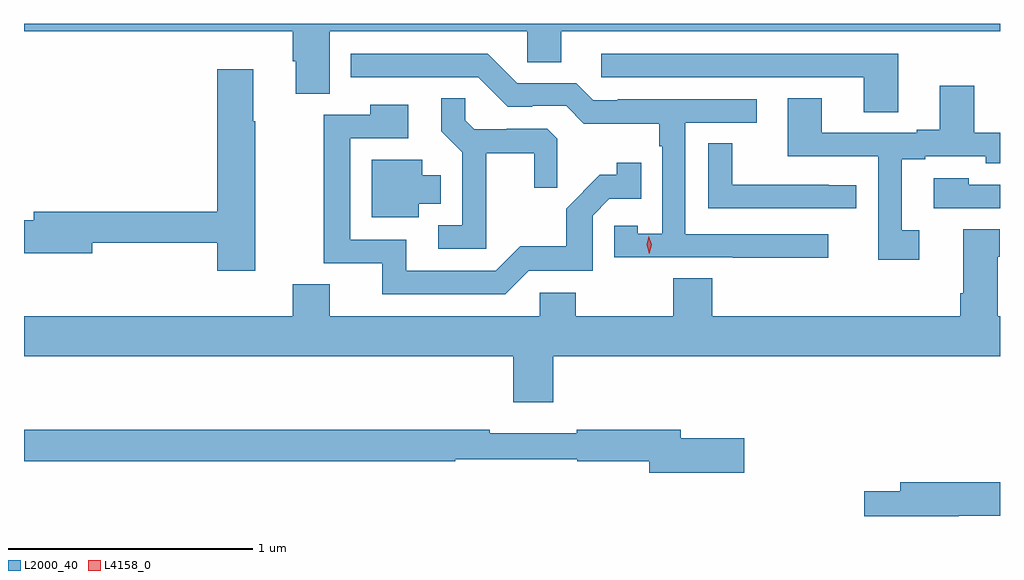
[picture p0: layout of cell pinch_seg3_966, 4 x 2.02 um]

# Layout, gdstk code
import gdstk
lib = gdstk.Library(unit=1e-6, precision=1e-09)
def P(c, l, *ps):  # polygons
    for p in ps: c.add(gdstk.Polygon(p, *l))
L2000_40 = (2000, 40)
L4158_0 = (4158, 0)

pinch_seg3_966 = lib.new_cell('pinch_seg3_966')
P(pinch_seg3_966, L2000_40, [(475.945,748.868),(476.754,748.868),(476.754,748.741),(476.893,748.741),(476.893,748.868),(478.691,748.868),(478.691,748.9),(474.691,748.9),(474.691,748.868),(475.793,748.868),(475.793,748.746),(475.805,748.746),(475.805,748.612),(475.945,748.612)],
  [(478.273,748.776),(477.057,748.776),(477.057,748.68),(478.133,748.68),(478.133,748.537),(478.273,748.537)],
  [(477.988,748.038),(477.402,748.038),(477.402,748.494),(477.694,748.494),(477.694,748.59),(477.124,748.59),(477.124,748.587),(477.024,748.587),(476.955,748.656),(476.712,748.656),(476.592,748.776),(476.03,748.776),(476.03,748.68),(476.553,748.68),(476.673,748.56),(476.774,748.56),(476.774,748.563),(476.913,748.563),(476.986,748.49),(477.294,748.49),(477.294,748.397),(477.306,748.397),(477.306,748.039),(477.207,748.039),(477.207,748.071),(477.111,748.071),(477.111,747.942),(477.595,747.942),(477.595,747.94),(477.988,747.94)],
  [(475.638,748.501),(475.63,748.501),(475.63,748.714),(475.484,748.714),(475.484,748.13),(474.731,748.13),(474.731,748.094),(474.691,748.094),(474.691,747.959),(474.97,747.959),(474.97,748.002),(475.484,748.002),(475.484,747.888),(475.638,747.888)],
  [(478.36,748.053),(478.288,748.053),(478.288,748.344),(478.384,748.344),(478.384,748.356),(478.632,748.356),(478.632,748.329),(478.691,748.329),(478.691,748.452),(478.585,748.452),(478.585,748.645),(478.445,748.645),(478.445,748.465),(478.349,748.465),(478.349,748.452),(477.961,748.452),(477.961,748.595),(477.821,748.595),(477.821,748.356),(478.191,748.356),(478.191,747.933),(478.36,747.933)],
  [(476.585,748.37),(476.782,748.37),(476.782,748.227),(476.876,748.227),(476.876,748.429),(476.835,748.47),(476.67,748.47),(476.67,748.467),(476.536,748.467),(476.499,748.504),(476.499,748.595),(476.401,748.595),(476.401,748.459),(476.487,748.373),(476.487,748.074),(476.388,748.074),(476.388,747.978),(476.585,747.978)],
  [(476.76,747.888),(477.021,747.888),(477.021,748.113),(477.09,748.182),(477.221,748.182),(477.221,748.33),(477.12,748.33),(477.12,748.28),(477.05,748.28),(476.913,748.142),(476.913,747.987),(476.724,747.987),(476.625,747.888),(476.257,747.888),(476.257,748.014),(476.028,748.014),(476.028,748.431),(476.266,748.431),(476.266,748.567),(476.11,748.567),(476.11,748.527),(475.92,748.527),(475.92,747.918),(476.159,747.918),(476.159,747.792),(476.664,747.792)],
  [(478.102,748.238),(477.989,748.238),(477.989,748.239),(477.594,748.239),(477.594,748.409),(477.495,748.409),(477.495,748.143),(478.102,748.143)],
  [(476.308,748.163),(476.398,748.163),(476.398,748.279),(476.323,748.279),(476.323,748.342),(476.117,748.342),(476.117,748.106),(476.308,748.106)],
  [(478.691,748.239),(478.563,748.239),(478.563,748.267),(478.419,748.267),(478.419,748.143),(478.691,748.143)],
  [(478.691,747.7),(478.681,747.7),(478.681,747.944),(478.689,747.944),(478.689,748.057),(478.541,748.057),(478.541,747.796),(478.529,747.796),(478.529,747.7),(477.512,747.7),(477.512,747.857),(477.352,747.857),(477.352,747.7),(476.952,747.7),(476.952,747.798),(476.805,747.798),(476.805,747.7),(475.945,747.7),(475.945,747.833),(475.793,747.833),(475.793,747.7),(474.691,747.7),(474.691,747.536),(476.696,747.536),(476.696,747.348),(476.86,747.348),(476.86,747.536),(478.691,747.536)],
  [(477.643,747.201),(477.382,747.201),(477.382,747.235),(476.956,747.235),(476.956,747.222),(476.6,747.222),(476.6,747.235),(474.691,747.235),(474.691,747.106),(476.458,747.106),(476.458,747.114),(476.958,747.114),(476.958,747.106),(477.254,747.106),(477.254,747.059),(477.643,747.059)],
  [(478.522,746.884),(478.691,746.884),(478.691,747.02),(478.283,747.02),(478.283,746.984),(478.134,746.984),(478.134,746.881),(478.522,746.881)])
P(pinch_seg3_966, L4158_0, [(477.254,747.957),(477.254,747.957),(477.243,747.993),(477.251,748.029),(477.252,748.029),(477.252,748.029),(477.263,747.994),(477.254,747.957)])

lib.write_gds('pinch_seg3_966.gds')
